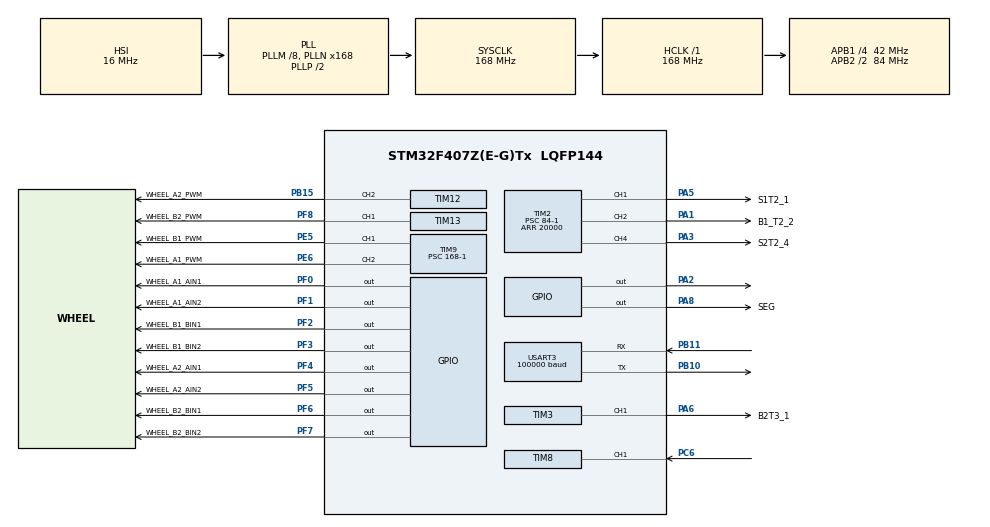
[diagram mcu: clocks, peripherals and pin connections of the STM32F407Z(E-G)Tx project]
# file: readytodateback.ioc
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FREERTOS.Tasks01=defaultTask,0,128,StartDefaultTask,Default,NULL,Dynamic,NULL,NULL;myTask02,-3,128,StartTask02,Default,NULL,Dynamic,NULL,NULL;Forservo,-3,128,StartTask03,Default,NULL,Dynamic,NULL,NULL
Mcu.Family=STM32F4
Mcu.Name=STM32F407Z(E-G)Tx
Mcu.Package=LQFP144
NVIC.PriorityGroup=NVIC_PRIORITYGROUP_4
NVIC.TIM6_DAC_IRQn=true\:6\:0\:true\:false\:true\:true\:true\:true\:true
NVIC.TIM7_IRQn=true\:15\:0\:false\:false\:true\:false\:false\:true\:true
NVIC.TimeBase=TIM7_IRQn
NVIC.TimeBaseIP=TIM7
NVIC.USART3_IRQn=true\:5\:0\:false\:false\:true\:true\:true\:true\:true
PA1.GPIO_Label=B1_T2_2
PA1.Signal=S_TIM2_CH2
PA13.Mode=Serial_Wire
PA13.Signal=SYS_JTMS-SWDIO
PA14.Mode=Serial_Wire
PA14.Signal=SYS_JTCK-SWCLK
PA2.Signal=GPIO_Output
PA3.GPIO_Label=S2T2_4
PA3.Signal=S_TIM2_CH4
PA5.GPIO_Label=S1T2_1
PA5.Signal=S_TIM2_CH1_ETR
PA6.GPIO_Label=B2T3_1
PA6.Signal=S_TIM3_CH1
PA8.GPIO_Label=SEG
PA8.Signal=GPIO_Output
PB10.Mode=Asynchronous
PB10.Signal=USART3_TX
PB11.Mode=Asynchronous
PB11.Signal=USART3_RX
PB15.GPIO_Label=WHEEL_A2_PWM
PB15.Signal=S_TIM12_CH2
PC6.Signal=S_TIM8_CH1
PE5.GPIO_Label=WHEEL_B1_PWM
PE5.Signal=S_TIM9_CH1
PE6.GPIO_Label=WHEEL_A1_PWM
PE6.Signal=S_TIM9_CH2
PF0.GPIO_Label=WHEEL_A1_AIN1
PF0.Signal=GPIO_Output
PF1.GPIO_Label=WHEEL_A1_AIN2
PF1.Signal=GPIO_Output
PF2.GPIO_Label=WHEEL_B1_BIN1
PF2.Signal=GPIO_Output
PF3.GPIO_Label=WHEEL_B1_BIN2
PF3.Signal=GPIO_Output
PF4.GPIO_Label=WHEEL_A2_AIN1
PF4.Signal=GPIO_Output
PF5.GPIO_Label=WHEEL_A2_AIN2
PF5.Signal=GPIO_Output
PF6.GPIO_Label=WHEEL_B2_BIN1
PF6.Signal=GPIO_Output
PF7.GPIO_Label=WHEEL_B2_BIN2
PF7.Signal=GPIO_Output
PF8.GPIO_Label=WHEEL_B2_PWM
PF8.Signal=S_TIM13_CH1
PH0-OSC_IN.Mode=HSE-External-Oscillator
PH0-OSC_IN.Signal=RCC_OSC_IN
PH1-OSC_OUT.Mode=HSE-External-Oscillator
PH1-OSC_OUT.Signal=RCC_OSC_OUT
ProjectManager.HeapSize=0x200
ProjectManager.StackSize=0x400
ProjectManager.TargetToolchain=MDK-ARM V5.32
RCC.48MHZClocksFreq_Value=84000000
RCC.AHBFreq_Value=168000000
RCC.APB1CLKDivider=RCC_HCLK_DIV4
RCC.APB1Freq_Value=42000000
RCC.APB1TimFreq_Value=84000000
RCC.APB2CLKDivider=RCC_HCLK_DIV2
RCC.APB2Freq_Value=84000000
RCC.APB2TimFreq_Value=168000000
RCC.CortexFreq_Value=168000000
RCC.HCLKFreq_Value=168000000
RCC.HSE_VALUE=25000000
RCC.HSI_VALUE=16000000
RCC.LSE_VALUE=32768
RCC.PLLM=8
RCC.PLLN=168
RCC.SYSCLKFreq_VALUE=168000000
RCC.SYSCLKSource=RCC_SYSCLKSOURCE_PLLCLK
RCC.VCOOutputFreq_Value=336000000
SH.S_TIM12_CH2.0=TIM12_CH2,PWM Generation2 CH2
SH.S_TIM13_CH1.0=TIM13_CH1,PWM Generation1 CH1
SH.S_TIM2_CH1_ETR.0=TIM2_CH1,PWM Generation1 CH1
SH.S_TIM2_CH2.0=TIM2_CH2,PWM Generation2 CH2
SH.S_TIM2_CH4.0=TIM2_CH4,PWM Generation4 CH4
SH.S_TIM3_CH1.0=TIM3_CH1,PWM Generation1 CH1
SH.S_TIM8_CH1.0=TIM8_CH1,Input_Capture1_from_TI1
SH.S_TIM9_CH1.0=TIM9_CH1,PWM Generation1 CH1
SH.S_TIM9_CH2.0=TIM9_CH2,PWM Generation2 CH2
TIM12.Channel-PWM\ Generation2\ CH2=TIM_CHANNEL_2
TIM12.Period=1700
TIM12.Prescaler=84-1
TIM13.Channel=TIM_CHANNEL_1
TIM13.Period=1700
TIM13.Prescaler=84-1
TIM2.Channel-PWM\ Generation1\ CH1=TIM_CHANNEL_1
TIM2.Channel-PWM\ Generation2\ CH2=TIM_CHANNEL_2
TIM2.Channel-PWM\ Generation4\ CH4=TIM_CHANNEL_4
TIM2.Period=20000
TIM2.Prescaler=84-1
TIM3.Channel-PWM\ Generation1\ CH1=TIM_CHANNEL_1
TIM3.Period=20000
TIM3.Prescaler=84-1
TIM6.Period=50000
TIM6.Prescaler=1680
TIM8.AutoReloadPreload=TIM_AUTORELOAD_PRELOAD_ENABLE
TIM8.Channel-Input_Capture1_from_TI1=TIM_CHANNEL_1
TIM8.Period=30000
TIM8.Prescaler=84-1
TIM9.Channel-PWM\ Generation1\ CH1=TIM_CHANNEL_1
TIM9.Channel-PWM\ Generation2\ CH2=TIM_CHANNEL_2
TIM9.Period=1700
TIM9.Prescaler=168-1
USART3.BaudRate=100000
USART3.Parity=PARITY_EVEN
USART3.StopBits=STOPBITS_2
USART3.VirtualMode=VM_ASYNC
VP_FREERTOS_VS_CMSIS_V1.Mode=CMSIS_V1
VP_SYS_VS_tim7.Mode=TIM7
VP_TIM13_VS_ClockSourceINT.Mode=Enable_Timer
VP_TIM2_VS_ClockSourceINT.Mode=Internal
VP_TIM3_VS_ClockSourceINT.Mode=Internal
VP_TIM6_VS_ClockSourceINT.Mode=Enable_Timer
VP_TIM8_VS_ClockSourceINT.Mode=Internal
board=custom

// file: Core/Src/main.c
/* USER CODE BEGIN Header */
/**
  ******************************************************************************
  * @file           : main.c
  * @brief          : Main program body
  ******************************************************************************
  * @attention
  *
  * Copyright (c) 2023 STMicroelectronics.
  * All rights reserved.
  *
  * This software is licensed under terms that can be found in the LICENSE file
  * in the root directory of this software component.
  * If no LICENSE file comes with this software, it is provided AS-IS.
  *
  ******************************************************************************
  */

#include "sbus.h"
/* USER CODE END Header */
#include "main.h"
#include "cmsis_os.h"
#include "tim.h"
#include "usart.h"
#include "gpio.h"

/* USER CODE BEGIN Includes */

#include <stdio.h>
#include "stm32_pca9685.h"
	uint8_t MC6C[40];
	int MC6C_st = 0;

#define USART_REC_LEN  			100  	//
#define RXBUFFERSIZE   			1 		//

uint8_t USART3_RX_BUF[USART_REC_LEN];
uint16_t USART3_RX_STA = 0;
uint8_t aRxBuffer3[RXBUFFERSIZE];
UART_HandleTypeDef UART3_Handler;
extern SBUS_CH_Struct SBUS_CH;

//

#define cnt_clk 84000000/(84)
#define arr 30000
uint32_t ccr_cnt1,ccr_cnt2;//存捕获寄存器获取的�?�的变量
uint32_t Period_cnt,Period_cnt1,Period_cnt2;//更新中断次数以及存放更新中断次数的变�?
uint32_t ic_flag,end_flag;//触发标志位，捕获完成标志
float duty_cycle,frequency;//频率，占空比

/* USER CODE END Includes */

void SystemClock_Config(void);
void MX_FREERTOS_Init(void);

int main(void)
{

  /* MCU Configuration--------------------------------------------------------*/

  /* Reset of all peripherals, Initializes the Flash interface and the Systick. */
  HAL_Init();

  /* Configure the system clock */
  SystemClock_Config();

  /* Initialize all configured peripherals */
  MX_GPIO_Init();
  MX_USART3_UART_Init();
  MX_TIM6_Init();
  MX_TIM9_Init();
  MX_TIM12_Init();
  MX_TIM13_Init();
  MX_TIM8_Init();
  MX_TIM2_Init();
  MX_TIM3_Init();
  /* USER CODE BEGIN 2 */
	HAL_TIM_PWM_Start(&htim9,TIM_CHANNEL_2);
	HAL_TIM_PWM_Start(&htim9,TIM_CHANNEL_1);
	HAL_TIM_Base_Start_IT(&htim6);
	HAL_TIM_PWM_Start(&htim12,TIM_CHANNEL_2);
	HAL_TIM_PWM_Start(&htim13,TIM_CHANNEL_1);
	HAL_TIM_PWM_Start(&htim2,TIM_CHANNEL_4);
	HAL_TIM_PWM_Start(&htim2,TIM_CHANNEL_1);
	HAL_TIM_PWM_Start(&htim2,TIM_CHANNEL_2);
	HAL_TIM_PWM_Start(&htim3,TIM_CHANNEL_1);
//	MX_I2C1_Init();
//		PCA_MG9XX_Init(60,90);

		__HAL_TIM_CLEAR_IT(&htim8,TIM_CHANNEL_1);//清除更新中断标志位，防止�?使能就进入更新中�?
		HAL_TIM_Base_Start_IT(&htim8);
		HAL_TIM_IC_Start_IT(&htim8,TIM_CHANNEL_1);
//	HAL_TIM_PWM_Start(&htim5,TIM_CHANNEL_4);
  /* USER CODE END 2 */

  /* Call init function for freertos objects (in freertos.c) */
  MX_FREERTOS_Init();

  /* Start scheduler */
  osKernelStart();
  /* We should never get here as control is now taken by the scheduler */
  /* Infinite loop */
  while (1)
  {

  }
}

void SystemClock_Config(void)
{
  RCC_OscInitTypeDef RCC_OscInitStruct = {0};
  RCC_ClkInitTypeDef RCC_ClkInitStruct = {0};

  /** Configure the main internal regulator output voltage
  */
  __HAL_RCC_PWR_CLK_ENABLE();
  __HAL_PWR_VOLTAGESCALING_CONFIG(PWR_REGULATOR_VOLTAGE_SCALE1);

  /** Initializes the RCC Oscillators according to the specified parameters
  * in the RCC_OscInitTypeDef structure.
  */
  RCC_OscInitStruct.OscillatorType = RCC_OSCILLATORTYPE_HSI;
  RCC_OscInitStruct.HSIState = RCC_HSI_ON;
  RCC_OscInitStruct.HSICalibrationValue = RCC_HSICALIBRATION_DEFAULT;
  RCC_OscInitStruct.PLL.PLLState = RCC_PLL_ON;
  RCC_OscInitStruct.PLL.PLLSource = RCC_PLLSOURCE_HSI;
  RCC_OscInitStruct.PLL.PLLM = 8;
  RCC_OscInitStruct.PLL.PLLN = 168;
  RCC_OscInitStruct.PLL.PLLP = RCC_PLLP_DIV2;
  RCC_OscInitStruct.PLL.PLLQ = 4;
  if (HAL_RCC_OscConfig(&RCC_OscInitStruct) != HAL_OK)
  {
    Error_Handler();
  }

  /** Initializes the CPU, AHB and APB buses clocks
  */
  RCC_ClkInitStruct.ClockType = RCC_CLOCKTYPE_HCLK|RCC_CLOCKTYPE_SYSCLK
                              |RCC_CLOCKTYPE_PCLK1|RCC_CLOCKTYPE_PCLK2;
  RCC_ClkInitStruct.SYSCLKSource = RCC_SYSCLKSOURCE_PLLCLK;
  RCC_ClkInitStruct.AHBCLKDivider = RCC_SYSCLK_DIV1;
  RCC_ClkInitStruct.APB1CLKDivider = RCC_HCLK_DIV4;
  RCC_ClkInitStruct.APB2CLKDivider = RCC_HCLK_DIV2;

  if (HAL_RCC_ClockConfig(&RCC_ClkInitStruct, FLASH_LATENCY_5) != HAL_OK)
  {
    Error_Handler();
  }
}

/* USER CODE BEGIN 4 */
void HAL_UART_RxCpltCallback(UART_HandleTypeDef *huart)
{
	int i;

	while (huart->Instance == USART3) //uart3 ?
	{
		USART3_RX_BUF[USART3_RX_STA] = aRxBuffer3[0];
		if (USART3_RX_STA == 0 && USART3_RX_BUF[USART3_RX_STA] != 0x0F) break; //
		USART3_RX_STA++;
		if (USART3_RX_STA > USART_REC_LEN) USART3_RX_STA = 0;  //
		if (USART3_RX_BUF[0] == 0x0F && USART3_RX_BUF[24] == 0x00 && USART3_RX_STA == 25)	//
		{
			update_sbus(USART3_RX_BUF);

			for (i = 0; i<25; i++)		//

				HAL_GPIO_TogglePin(GPIOF,GPIO_PIN_1);
				USART3_RX_BUF[i] = 0;
			USART3_RX_STA = 0;
		}

		break;
	}
}

void HAL_TIM_IC_CaptureCallback(TIM_HandleTypeDef *htim)
{
				switch(ic_flag)//触发标志位判�?
				{
					case 0://第一个上升沿捕获
					{
						__HAL_TIM_SET_COUNTER(&htim8,0);//清除计数器的计数
						ccr_cnt1=0;//初始化相关变�?
						ccr_cnt2=0;
						Period_cnt=0;
						Period_cnt1=0;
						Period_cnt2=0;
						__HAL_TIM_SET_CAPTUREPOLARITY(&htim8,TIM_CHANNEL_1,TIM_INPUTCHANNELPOLARITY_FALLING); //设置成下降沿触发
						ic_flag=1;//更改捕获标志位，进入case1进行相关变量的处理�??
						break;
					}
					case 1://第一个下降沿捕获
					{
						ccr_cnt1=__HAL_TIM_GET_COMPARE(&htim8,TIM_CHANNEL_1);//获取存放在CCR寄存器的值（捕获值）
						Period_cnt1=Period_cnt;//获取第一个下降沿到来时的进入更新中断的次�?
						__HAL_TIM_SET_CAPTUREPOLARITY(&htim8,TIM_CHANNEL_1,TIM_INPUTCHANNELPOLARITY_RISING);	//设置成上升沿触发
						ic_flag=2;	//更改捕获标志位，进入case2进行相关变量的处�?
						break;
					}
					case 2://第二个上沿捕�?
					{
						ccr_cnt2=__HAL_TIM_GET_COMPARE(&htim8,TIM_CHANNEL_1);//获取存放在CCR寄存器的值（捕获值）
						Period_cnt2=Period_cnt;//获取第二个上升沿到来时的进入更新中断的次�?
						ic_flag=0;	//更改捕获标志位，进入case0进行相关变量的处理�??
						end_flag=1;//捕获完成标志
						break;
					}
					default:
					break;
				}
}
/* USER CODE END 4 */

void HAL_TIM_PeriodElapsedCallback(TIM_HandleTypeDef *htim)
{
  if (htim->Instance == TIM7) {
    HAL_IncTick();
  }
  /* USER CODE BEGIN Callback 1 */
	if (htim->Instance == TIM8) {

		Period_cnt++;
  }
  /* USER CODE END Callback 1 */
}

void Error_Handler(void)
{
  __disable_irq();
  while (1)
  {
  }
}

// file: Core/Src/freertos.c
/* USER CODE BEGIN Header */
/**
  ******************************************************************************
  * File Name          : freertos.c
  * Description        : Code for freertos applications
  ******************************************************************************
  * @attention
  *
  * Copyright (c) 2023 STMicroelectronics.
  * All rights reserved.
  *
  * This software is licensed under terms that can be found in the LICENSE file
  * in the root directory of this software component.
  * If no LICENSE file comes with this software, it is provided AS-IS.
  *
  ******************************************************************************
  */

/* USER CODE END Header */

#include "FreeRTOS.h"
#include "task.h"
#include "main.h"
#include "cmsis_os.h"

/* USER CODE BEGIN Includes */
#include "usart.h"
#include "gpio.h"
#include "tim.h"
#include <stdio.h>
#include "sbus.h"
//#include "stm32_pca9685.h"

//#include "i2c.h"
#define cos45 0.707106
#define sin45 0.707106
/* USER CODE END Includes */

/* USER CODE BEGIN PTD */

#define USART_REC_LEN  			100  	//
#define RXBUFFERSIZE   			1 		//
extern	uint8_t MC6C;
extern 	int MC6C_st;
extern uint8_t USART3_RX_BUF;
extern uint16_t USART3_RX_STA;
extern uint8_t aRxBuffer3[] ;
extern UART_HandleTypeDef UART3_Handler;

#define cnt_clk 84000000/(84+1)//计时器时�?
#define arr 30000  //重装载寄存器的�?�，根据实际情况设置�?
extern uint32_t ccr_cnt1,ccr_cnt2;//存捕获寄存器获取的�?�的变量
extern uint32_t Period_cnt,Period_cnt1,Period_cnt2;//更新中断次数以及存放更新中断次数的变�?
extern uint32_t ic_flag,end_flag;//触发标志位，捕获完成标志
extern float duty_cycle,frequency;//频率，占空比

/* USER CODE END PTD */

/* USER CODE BEGIN PD */

extern SBUS_CH_Struct SBUS_CH;
//  ֢o޸ѐԵʼۯքƤ׃
// س˖ԍąؖҦÊӦكˇ2100  Ԓҟֽӣ255
// ؜֮Јۮ֨Եʼֵ

// here mid value
int ML_CH3 =  480  ; // left_spd
int ML_CH4 =  930 ; // rotate
int MR_CH2 =  960 ; //  right_y  max 1400 min 600
int MR_CH1 =  850 ;  // right_x

int LY = 0;
int LX = 0;
int RX = 0;
int RY = 0;
int CH6 = 0x06F0 ; //
int CH5 = 0x03E4 ;

/* USER CODE END PD */

/* USER CODE BEGIN PM */

int * speedcc(int rx , int ry, int lx );

/* USER CODE END PM */

/* USER CODE BEGIN Variables */
int * wheelspeed ;
/* USER CODE END Variables */
osThreadId defaultTaskHandle;
osThreadId myTask02Handle;
osThreadId ForservoHandle;

void StartDefaultTask(void const * argument);
void StartTask02(void const * argument);
void StartTask03(void const * argument);

void MX_FREERTOS_Init(void); /* (MISRA C 2004 rule 8.1) */

/* GetIdleTaskMemory prototype (linked to static allocation support) */
void vApplicationGetIdleTaskMemory( StaticTask_t **ppxIdleTaskTCBBuffer, StackType_t **ppxIdleTaskStackBuffer, uint32_t *pulIdleTaskStackSize );

/* USER CODE BEGIN GET_IDLE_TASK_MEMORY */
static StaticTask_t xIdleTaskTCBBuffer;
static StackType_t xIdleStack[configMINIMAL_STACK_SIZE];

void vApplicationGetIdleTaskMemory( StaticTask_t **ppxIdleTaskTCBBuffer, StackType_t **ppxIdleTaskStackBuffer, uint32_t *pulIdleTaskStackSize )
{
  *ppxIdleTaskTCBBuffer = &xIdleTaskTCBBuffer;
  *ppxIdleTaskStackBuffer = &xIdleStack[0];
  *pulIdleTaskStackSize = configMINIMAL_STACK_SIZE;
  /* place for user code */
}
/* USER CODE END GET_IDLE_TASK_MEMORY */

void MX_FREERTOS_Init(void) {

  /* Create the thread(s) */
  /* definition and creation of defaultTask */
  osThreadDef(defaultTask, StartDefaultTask, osPriorityNormal, 0, 128);
  defaultTaskHandle = osThreadCreate(osThread(defaultTask), NULL);

  /* definition and creation of myTask02 */
  osThreadDef(myTask02, StartTask02, osPriorityIdle, 0, 128);
  myTask02Handle = osThreadCreate(osThread(myTask02), NULL);

  /* definition and creation of Forservo */
  osThreadDef(Forservo, StartTask03, osPriorityIdle, 0, 128);
  ForservoHandle = osThreadCreate(osThread(Forservo), NULL);

}

void StartDefaultTask(void const * argument)
{
  /* USER CODE BEGIN StartDefaultTask */

	HAL_UART_Receive_IT(&huart3,aRxBuffer3,1);
	//char msg[] = "\n";
  /* Infinite loop */

  for(;;)
  {

		RY =  SBUS_CH.CH2 - MR_CH2;
		RX =  SBUS_CH.CH1 - MR_CH1;
    LX =  SBUS_CH.CH4 - ML_CH4;

		osDelay(20);
  }
  /* USER CODE END StartDefaultTask */
}

void StartTask02(void const * argument)
{
  /* USER CODE BEGIN StartTask02 */

	int stop = 300 ;
	int biasA1 = 0;
	int biasA2 = 200;
	int biasB1 = 200;
	int biasB2 = -50 ;

  /* Infinite loop */
  for(;;)
  {

		wheelspeed = speedcc(RY,RX,LX);
		/*	wheelspeed[0] -= biasA1 ;
			wheelspeed[1] -= biasA2 ;
			wheelspeed[2] -= biasB1 ;
			wheelspeed[3] -= biasB2 ;
		*/

			wheelspeed[0] = wheelspeed[0] * 1.5 ;
			wheelspeed[1] = wheelspeed[1] * 1.5  ;
			wheelspeed[2] = wheelspeed[2] * 1.5  ;
			wheelspeed[3] = wheelspeed[3] * 1.5  ;

			// we add human stop here
			if(wheelspeed[0] >= 1000) wheelspeed[0] = 1700;
			if(wheelspeed[1] >= 1000) wheelspeed[1] = 1700;
			if(wheelspeed[2] >= 1000) wheelspeed[2] = 1700;
			if(wheelspeed[3] >= 1000) wheelspeed[3] = 1700;

			if(wheelspeed[0] <= -1000) wheelspeed[0] = -1700;
			if(wheelspeed[1] <= -1000) wheelspeed[1] = -1700;
			if(wheelspeed[2] <= -1000) wheelspeed[2] = -1700;
			if(wheelspeed[3] <= -1000) wheelspeed[3] = -1700;

			if(wheelspeed[0] < -stop ) {

						HAL_GPIO_WritePin(WHEEL_A1_AIN1_GPIO_Port,WHEEL_A1_AIN1_Pin,GPIO_PIN_SET);
						HAL_GPIO_WritePin(WHEEL_A1_AIN2_GPIO_Port,WHEEL_A1_AIN2_Pin,GPIO_PIN_RESET);
						__HAL_TIM_SetCompare(&htim9,TIM_CHANNEL_2, -wheelspeed[0]);
					}
					else if(wheelspeed[0] > stop ) {
						HAL_GPIO_WritePin(WHEEL_A1_AIN1_GPIO_Port,WHEEL_A1_AIN1_Pin,GPIO_PIN_RESET);
						HAL_GPIO_WritePin(WHEEL_A1_AIN2_GPIO_Port,WHEEL_A1_AIN2_Pin,GPIO_PIN_SET);
						__HAL_TIM_SetCompare(&htim9,TIM_CHANNEL_2, wheelspeed[0]);

					}
					else{

						__HAL_TIM_SetCompare(&htim9,TIM_CHANNEL_2, 0);

					}
					if(wheelspeed[1] < -stop) {

						HAL_GPIO_WritePin(WHEEL_A2_AIN1_GPIO_Port,WHEEL_A2_AIN1_Pin,GPIO_PIN_RESET);
						HAL_GPIO_WritePin(WHEEL_A2_AIN2_GPIO_Port,WHEEL_A2_AIN2_Pin,GPIO_PIN_SET);
						__HAL_TIM_SetCompare(&htim12,TIM_CHANNEL_2, -wheelspeed[1]);
					}
					else if (wheelspeed[1] > stop){

						HAL_GPIO_WritePin(WHEEL_A2_AIN1_GPIO_Port,WHEEL_A2_AIN1_Pin,GPIO_PIN_SET);
						HAL_GPIO_WritePin(WHEEL_A2_AIN2_GPIO_Port,WHEEL_A2_AIN2_Pin,GPIO_PIN_RESET);
						__HAL_TIM_SetCompare(&htim12,TIM_CHANNEL_2, (wheelspeed[1]));

					}
					else{
						__HAL_TIM_SetCompare(&htim12,TIM_CHANNEL_2, 0);
					}

					if(wheelspeed[2] < -stop) {

						HAL_GPIO_WritePin(WHEEL_B1_BIN1_GPIO_Port,WHEEL_B1_BIN1_Pin,GPIO_PIN_SET);
						HAL_GPIO_WritePin(WHEEL_B1_BIN2_GPIO_Port,WHEEL_B1_BIN2_Pin,GPIO_PIN_RESET);
						__HAL_TIM_SetCompare(&htim9,TIM_CHANNEL_1, -wheelspeed[2]);
					}
					else if(wheelspeed[2] > stop){
						HAL_GPIO_WritePin(WHEEL_B1_BIN1_GPIO_Port,WHEEL_B1_BIN1_Pin,GPIO_PIN_RESET);
						HAL_GPIO_WritePin(WHEEL_B1_BIN2_GPIO_Port,WHEEL_B1_BIN2_Pin,GPIO_PIN_SET);
						__HAL_TIM_SetCompare(&htim9,TIM_CHANNEL_1, wheelspeed[2]);

					}
					else{

					__HAL_TIM_SetCompare(&htim9,TIM_CHANNEL_1, 0);
					}

					if(wheelspeed[3] < -stop) {

						HAL_GPIO_WritePin(WHEEL_B2_BIN1_GPIO_Port,WHEEL_B2_BIN1_Pin,GPIO_PIN_RESET);
						HAL_GPIO_WritePin(WHEEL_B2_BIN2_GPIO_Port,WHEEL_B2_BIN2_Pin,GPIO_PIN_SET);
						__HAL_TIM_SetCompare(&htim13,TIM_CHANNEL_1, -wheelspeed[3]);
					}
					else if(wheelspeed[3] > stop){
						HAL_GPIO_WritePin(WHEEL_B2_BIN1_GPIO_Port,WHEEL_B2_BIN1_Pin,GPIO_PIN_SET);
						HAL_GPIO_WritePin(WHEEL_B2_BIN2_GPIO_Port,WHEEL_B2_BIN2_Pin,GPIO_PIN_RESET);
						__HAL_TIM_SetCompare(&htim13,TIM_CHANNEL_1, wheelspeed[3]);

					}
					else{

						__HAL_TIM_SetCompare(&htim13,TIM_CHANNEL_1,  0 );
					}

			if(end_flag==1)// Mayve we still need PWM catch
		{
     	duty_cycle=(float)(Period_cnt1*(arr+1)+ccr_cnt1+1)*100/(Period_cnt2*(arr+1)+ccr_cnt2+1);
  		frequency=(float)cnt_clk/(Period_cnt2*(arr+1)+ccr_cnt2+1);

			end_flag=0;

		}

    osDelay(1);
			}
  /* USER CODE END StartTask02 */
}

void StartTask03(void const * argument)
{
  /* USER CODE BEGIN StartTask03 */
  /* Infinite loop */
	int end = 1750;
	int start = 900;
	int end_b = 900;
	int start_b =2200;
  for(;;)
  {

		if(SBUS_CH.CH6 <= CH6){
		__HAL_TIM_SetCompare(&htim2,TIM_CHANNEL_1, end+100);

		//
		__HAL_TIM_SetCompare(&htim2,TIM_CHANNEL_4, start);
    }
		else{
		__HAL_TIM_SetCompare(&htim2,TIM_CHANNEL_1, start-50);

		//
		__HAL_TIM_SetCompare(&htim2,TIM_CHANNEL_4, end+100);

		}

		if(SBUS_CH.CH5<=CH5){

		__HAL_TIM_SetCompare(&htim2,TIM_CHANNEL_2, start_b);

		//
		__HAL_TIM_SetCompare(&htim3,TIM_CHANNEL_1, end_b);

		}else{
		__HAL_TIM_SetCompare(&htim2,TIM_CHANNEL_2, end_b);

		//
		__HAL_TIM_SetCompare(&htim3,TIM_CHANNEL_1, start_b);

		}

		osDelay(1);
  }
  /* USER CODE END StartTask03 */
}

/* USER CODE BEGIN Application */
int * speedcc(int rx, int ry , int lx){
		// trans speed to MACAXIS

		static int wheelspeed[10]; // A1 A2  B1 B2

	//	int macx = ry * cos45 +  rx * cos45  ;
	//	int macy = ry * cos45 +  rx * cos45  ;
		int macr = lx ;

		wheelspeed[0] = 0 ;
		wheelspeed[1] = 0 ;
		wheelspeed[2] = 0 ;
		wheelspeed[3] = 0 ;

	//trans valur to macx

		wheelspeed[0] = rx ;
		wheelspeed[1] = rx ;
		wheelspeed[2] = rx ;
		wheelspeed[3] = rx ;

	//
	 wheelspeed[0] += ry ;
	 wheelspeed[1] += ry ;
	 wheelspeed[2] -= ry ;
	 wheelspeed[3] -= ry ;

		// cc and add rotate speed to the car

		wheelspeed[0] -= lx ;
		wheelspeed[1] += lx ;
		wheelspeed[2] += lx ;
		wheelspeed[3] -= lx ;

		return wheelspeed;

}
/* USER CODE END Application */
